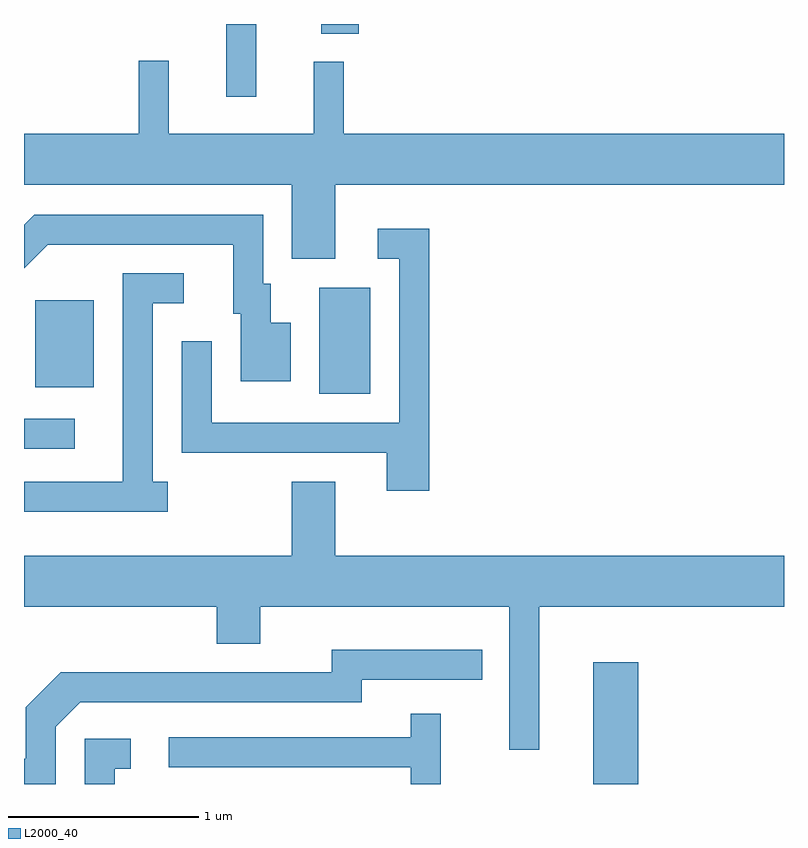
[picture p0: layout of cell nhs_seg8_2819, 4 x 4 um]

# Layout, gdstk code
import gdstk
lib = gdstk.Library(unit=1e-6, precision=1e-09)
def R(c, l, rs):  # rectangles x0, y0, x1, y1
    for r in rs: c.add(gdstk.rectangle(r[:2], r[2:], *l))
def P(c, l, *ps):  # polygons
    for p in ps: c.add(gdstk.Polygon(p, *l))
L2000_40 = (2000, 40)

nhs_seg8_2819 = lib.new_cell('nhs_seg8_2819')
R(nhs_seg8_2819, L2000_40, [(272.606,1864.342,272.844,1864.984), (269.611,1866.106,269.878,1866.264), (271.166,1866.396,271.434,1866.954), (269.671,1866.431,269.979,1866.889), (270.676,1867.958,270.834,1868.342), (271.176,1868.291,271.374,1868.342)])
P(nhs_seg8_2819, L2000_40, [(270.374,1868.148),(270.216,1868.148),(270.216,1867.764),(269.611,1867.764),(269.611,1867.496),(271.021,1867.496),(271.021,1867.106),(271.249,1867.106),(271.249,1867.496),(273.611,1867.496),(273.611,1867.764),(271.294,1867.764),(271.294,1868.143),(271.136,1868.143),(271.136,1867.764),(270.374,1867.764)],
  [(271.014,1866.769),(270.909,1866.769),(270.909,1866.974),(270.869,1866.974),(270.869,1867.339),(269.664,1867.339),(269.611,1867.286),(269.611,1867.056),(269.737,1867.181),(270.711,1867.181),(270.711,1866.816),(270.751,1866.816),(270.751,1866.461),(271.014,1866.461)],
  [(271.744,1867.264),(271.473,1867.264),(271.473,1867.106),(271.586,1867.106),(271.586,1866.244),(270.599,1866.244),(270.599,1866.673),(270.441,1866.673),(270.441,1866.086),(271.521,1866.086),(271.521,1865.886),(271.744,1865.886)],
  [(270.368,1865.934),(270.289,1865.934),(270.289,1866.871),(270.453,1866.871),(270.453,1867.029),(270.131,1867.029),(270.131,1865.934),(269.611,1865.934),(269.611,1865.776),(270.368,1865.776)],
  [(272.166,1864.523),(272.324,1864.523),(272.324,1865.276),(273.611,1865.276),(273.611,1865.544),(271.249,1865.544),(271.249,1865.934),(271.021,1865.934),(271.021,1865.544),(269.611,1865.544),(269.611,1865.276),(270.626,1865.276),(270.626,1865.081),(270.854,1865.081),(270.854,1865.276),(272.166,1865.276)],
  [(269.779,1864.644),(269.907,1864.771),(271.389,1864.771),(271.389,1864.891),(272.023,1864.891),(272.023,1865.049),(271.231,1865.049),(271.231,1864.929),(269.804,1864.929),(269.621,1864.747),(269.621,1864.474),(269.611,1864.474),(269.611,1864.342),(269.779,1864.342)],
  [(271.804,1864.713),(271.646,1864.713),(271.646,1864.589),(270.373,1864.589),(270.373,1864.431),(271.646,1864.431),(271.646,1864.342),(271.804,1864.342)],
  [(270.089,1864.421),(270.173,1864.421),(270.173,1864.579),(269.931,1864.579),(269.931,1864.342),(270.089,1864.342)])

lib.write_gds('nhs_seg8_2819.gds')
